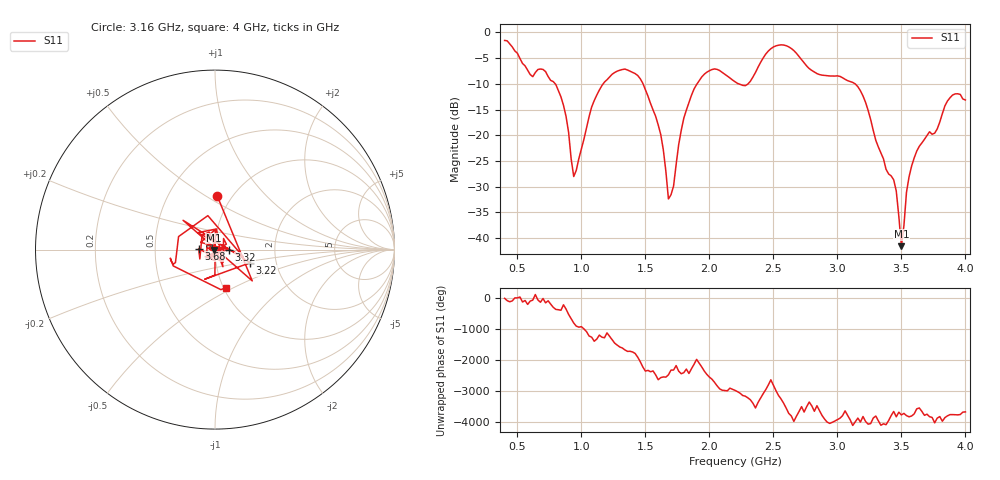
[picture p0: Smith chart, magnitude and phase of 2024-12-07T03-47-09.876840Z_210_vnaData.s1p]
!Created with skrf (http://scikit-rf.org).
# Hz S RI R 50.0
!freq ReS11 ImS11
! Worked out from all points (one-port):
!   181 points, 400 MHz to 4 GHz, reference 50 ohm
!   lowest |S11| = -41.6 dB at 3.5 GHz (marker M1), VSWR 1.02, Z = 49.2 - j0.133 ohm
!   |S11| at or under -10 dB: 796.1 MHz to 1.17 GHz (373.7 MHz wide, 38 % of centre); 1.482 GHz to 1.903 GHz (421.8 MHz wide, 24.9 % of centre); 3.139 GHz to end of sweep (the widest 3 of 4)
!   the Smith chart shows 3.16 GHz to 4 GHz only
!   S11 on the Smith chart (normalised r, x): 3.16 GHz: 0.86, +0.56; 3.22 GHz: 1.47, -0.22; 3.32 GHz: 1.17, -0.00; 3.68 GHz: 0.83, +0.01; 4 GHz: 1.03, -0.46
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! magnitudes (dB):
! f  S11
! 400 MHz  -1.6
! 620 MHz  -8.6
! 720 MHz  -7.6
! 860 MHz  -14.2
! 940 MHz  -28.0
! 1.1 GHz  -13.3
! 1.3 GHz  -7.3
! 1.46 GHz  -9.0
! 1.58 GHz  -16.3
! 1.64 GHz  -22.8
! 1.68 GHz  -32.4
! 1.72 GHz  -29.9
! 1.76 GHz  -21.8
! 1.94 GHz  -8.7
! 2.2 GHz  -9.6
! 2.3 GHz  -10.1
! 2.5 GHz  -2.8
! 2.66 GHz  -3.5
! 3.1 GHz  -9.5
! 3.16 GHz  -10.6
! 3.22 GHz  -13.6
! 3.32 GHz  -22.3
! 3.44 GHz  -28.7
! 3.5 GHz  -41.6
! 3.56 GHz  -28.1
! 3.68 GHz  -20.8
! 3.9 GHz  -12.2
! 4 GHz  -13.1
